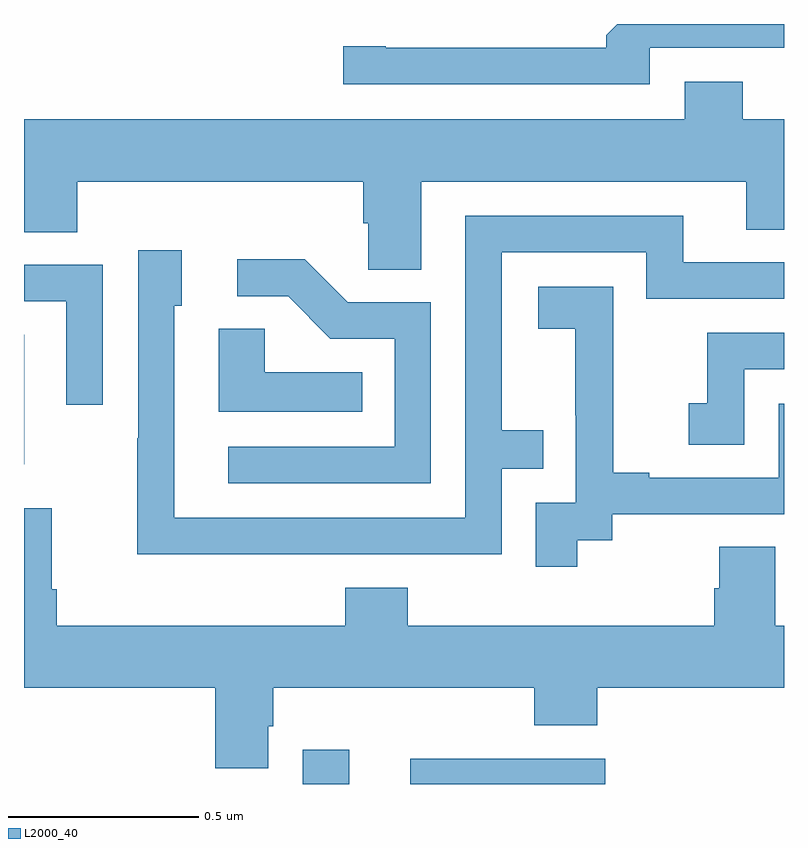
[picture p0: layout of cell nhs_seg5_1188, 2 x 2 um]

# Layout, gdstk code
import gdstk
lib = gdstk.Library(unit=1e-6, precision=1e-09)
def R(c, l, rs):  # rectangles x0, y0, x1, y1
    for r in rs: c.add(gdstk.rectangle(r[:2], r[2:], *l))
def P(c, l, *ps):  # polygons
    for p in ps: c.add(gdstk.Polygon(p, *l))
L2000_40 = (2000, 40)

nhs_seg5_1188 = lib.new_cell('nhs_seg5_1188')
R(nhs_seg5_1188, L2000_40, [(126.734,897.799,126.856,897.889), (127.017,897.799,127.53,897.866), (126,898.641,126.001,898.981)])
P(nhs_seg5_1188, L2000_40, [(127.647,899.736),(128,899.736),(128,899.799),(127.561,899.799),(127.532,899.77),(127.532,899.736),(126.952,899.736),(126.952,899.741),(126.84,899.741),(126.84,899.64),(127.647,899.64)],
  [(127.045,899.384),(127.901,899.384),(127.901,899.257),(128,899.257),(128,899.548),(127.892,899.548),(127.892,899.647),(127.739,899.647),(127.739,899.548),(126,899.548),(126,899.251),(126.14,899.251),(126.14,899.384),(126.893,899.384),(126.893,899.275),(126.906,899.275),(126.906,899.152),(127.045,899.152)],
  [(126.761,898.404),(127.257,898.404),(127.257,898.629),(127.367,898.629),(127.367,898.73),(127.257,898.73),(127.257,899.199),(127.638,899.199),(127.638,899.076),(128,899.076),(128,899.172),(127.735,899.172),(127.735,899.295),(127.161,899.295),(127.161,898.5),(126.396,898.5),(126.396,899.058),(126.415,899.058),(126.415,899.203),(126.3,899.203),(126.3,898.709),(126.298,898.709),(126.298,898.403),(126.761,898.403)],
  [(127.071,899.067),(126.852,899.067),(126.739,899.18),(126.561,899.18),(126.561,899.082),(126.695,899.082),(126.806,898.971),(126.975,898.971),(126.975,898.686),(126.537,898.686),(126.537,898.59),(127.071,898.59)],
  [(126.207,899.166),(126,899.166),(126,899.07),(126.111,899.07),(126.111,898.797),(126.207,898.797)],
  [(127.456,898.441),(127.548,898.441),(127.548,898.509),(128,898.509),(128,898.8),(127.986,898.8),(127.986,898.605),(127.645,898.605),(127.645,898.618),(127.55,898.618),(127.55,898.901),(127.551,898.901),(127.551,899.107),(127.353,899.107),(127.353,898.997),(127.451,898.997),(127.451,898.769),(127.452,898.769),(127.452,898.539),(127.347,898.539),(127.347,898.371),(127.456,898.371)],
  [(126.89,898.882),(126.633,898.882),(126.633,898.997),(126.512,898.997),(126.512,898.778),(126.89,898.778)],
  [(127.896,898.89),(128,898.89),(128,898.986),(127.798,898.986),(127.798,898.801),(127.749,898.801),(127.749,898.692),(127.896,898.692)],
  [(126.643,897.951),(126.656,897.951),(126.656,898.052),(127.343,898.052),(127.343,897.953),(127.508,897.953),(127.508,898.052),(128,898.052),(128,898.216),(127.977,898.216),(127.977,898.424),(127.829,898.424),(127.829,898.314),(127.817,898.314),(127.817,898.216),(127.01,898.216),(127.01,898.315),(126.845,898.315),(126.845,898.216),(126.086,898.216),(126.086,898.312),(126.073,898.312),(126.073,898.525),(126,898.525),(126,898.052),(126.503,898.052),(126.503,897.841),(126.643,897.841)])

lib.write_gds('nhs_seg5_1188.gds')
